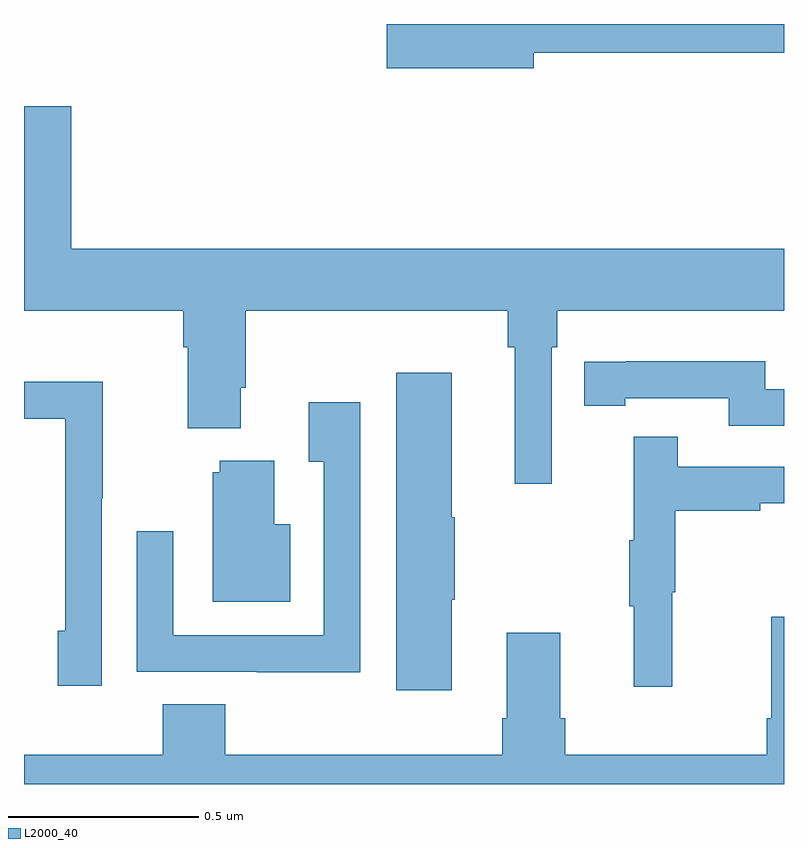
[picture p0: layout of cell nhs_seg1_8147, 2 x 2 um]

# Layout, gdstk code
import gdstk
lib = gdstk.Library(unit=1e-6, precision=1e-09)
def P(c, l, *ps):  # polygons
    for p in ps: c.add(gdstk.Polygon(p, *l))
L2000_40 = (2000, 40)

nhs_seg1_8147 = lib.new_cell('nhs_seg1_8147')
P(nhs_seg1_8147, L2000_40, [(214.342,507.124),(215,507.124),(215,507.199),(213.954,507.199),(213.954,507.082),(214.342,507.082)],
  [(214.389,506.348),(214.403,506.348),(214.403,506.444),(215,506.444),(215,506.608),(213.124,506.608),(213.124,506.983),(213,506.983),(213,506.444),(213.419,506.444),(213.419,506.348),(213.431,506.348),(213.431,506.135),(213.571,506.135),(213.571,506.242),(213.584,506.242),(213.584,506.444),(214.273,506.444),(214.273,506.348),(214.292,506.348),(214.292,505.989),(214.389,505.989)],
  [(215,506.238),(214.95,506.238),(214.95,506.311),(214.582,506.311),(214.582,506.31),(214.474,506.31),(214.474,506.194),(214.582,506.194),(214.582,506.214),(214.854,506.214),(214.854,506.142),(215,506.142)],
  [(214.126,505.684),(214.134,505.684),(214.134,505.901),(214.126,505.901),(214.126,506.281),(213.98,506.281),(213.98,505.446),(214.126,505.446)],
  [(213.204,505.951),(213.207,505.951),(213.207,506.258),(213,506.258),(213,506.16),(213.108,506.16),(213.108,505.602),(213.089,505.602),(213.089,505.458),(213.204,505.458)],
  [(213.885,506.203),(213.749,506.203),(213.749,506.047),(213.789,506.047),(213.789,505.59),(213.393,505.59),(213.393,505.864),(213.297,505.864),(213.297,505.494),(213.613,505.494),(213.613,505.493),(213.885,505.493)],
  [(214.706,505.704),(214.714,505.704),(214.714,505.918),(214.937,505.918),(214.937,505.938),(215,505.938),(215,506.034),(214.721,506.034),(214.721,506.113),(214.604,506.113),(214.604,505.841),(214.593,505.841),(214.593,505.667),(214.604,505.667),(214.604,505.455),(214.706,505.455)],
  [(213.7,505.882),(213.658,505.882),(213.658,506.05),(213.515,506.05),(213.515,506.019),(213.497,506.019),(213.497,505.679),(213.7,505.679)],
  [(215,505.639),(214.967,505.639),(214.967,505.372),(214.955,505.372),(214.955,505.276),(214.424,505.276),(214.424,505.372),(214.411,505.372),(214.411,505.597),(214.271,505.597),(214.271,505.372),(214.259,505.372),(214.259,505.276),(213.53,505.276),(213.53,505.409),(213.365,505.409),(213.365,505.276),(213,505.276),(213,505.199),(215,505.199)])

lib.write_gds('nhs_seg1_8147.gds')
